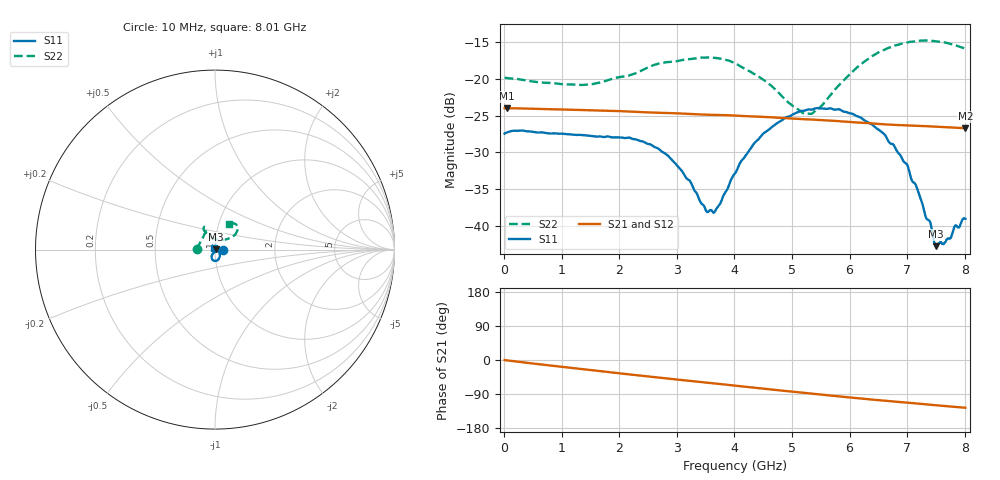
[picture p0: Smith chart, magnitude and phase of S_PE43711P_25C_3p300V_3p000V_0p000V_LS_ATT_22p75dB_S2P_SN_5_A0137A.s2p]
! Device ID: PE43711P
! File Path: z:\PE43711P\CHAR_NOM_04282014\AMB\3p300\LS_ATT_22p75dB\PE43711P_AMB_3p300V_3p000V_0p000V_LS_ATT_22p75dB_S2P_SN_5_A0137A.s2p
! Serial: 5
! Lot: A0137A
! Temp: 25C
! VDD: 3.300
! VSS: 0.000
! Control_Hi: 3.000
! Control_Lo: 0.000
! Attenuation Step: 22.75dB
! Port 1: RF1
! Port 2: RF2
! ThroughPath:1-2
! IDD: 0.0001275108
! ISS: -1.569e-007
#  Hz  S  RI  R  50
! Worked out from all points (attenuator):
!   801 points, 10 MHz to 8.01 GHz, reference 50 ohm
!   highest |S21| = -23.99 dB at 50 MHz (marker M1); lowest = -26.7 dB at 8.01 GHz (marker M2)
!   lowest |S11| = -42.8 dB at 7.5 GHz (marker M3), VSWR 1.01, Z = 50.6 + j0.428 ohm
!   |S11| at or under -10 dB: start of sweep to end of sweep
!   |S22| runs from -24.8 to -14.8 dB; largest |S21 - S12| = 0.00013
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1e7  0.0425 0.000309  0.0632 -0.000273  0.0632 -0.000256  -0.1022 0.000855
5e7  0.0432 0.000328  0.0632 -0.00108  0.0632 -0.00107  -0.1014 0.00291
1.35e9  0.0403 -0.00995  0.0562 -0.0249  0.0562 -0.0249  -0.0761 0.0497
2.18e9  0.0384 -0.0105  0.0472 -0.037  0.0472 -0.037  -0.0552 0.0903
2.68e9  0.0326 -0.00805  0.0408 -0.0425  0.0408 -0.0425  -0.052 0.1159
3.07e9  0.0229 -0.00726  0.0353 -0.0462  0.0354 -0.0463  -0.0532 0.123
3.54e9  0.0063 -0.0107  0.0285 -0.0494  0.0286 -0.0494  -0.0595 0.1266
3.68e9  0.00104 -0.0129  0.0265 -0.0503  0.0265 -0.0503  -0.0616 0.1244
4.01e9  -0.00994 -0.0205  0.0214 -0.0521  0.0214 -0.0521  -0.063 0.111
4.32e9  -0.0174 -0.0309  0.0166 -0.053  0.0166 -0.053  -0.0527 0.0959
4.52e9  -0.0189 -0.0387  0.0134 -0.0535  0.0134 -0.0535  -0.0435 0.0875
5.17e9  -0.0107 -0.0597  0.00368 -0.0532  0.00367 -0.0532  0.0021 0.0592
5.35e9  -0.00576 -0.0616  0.0011 -0.0529  0.00114 -0.0529  0.0206 0.0544
6.05e9  0.0189 -0.0547  -0.00842 -0.0501  -0.00846 -0.0501  0.0901 0.0667
6.4e9  0.026 -0.0411  -0.0125 -0.0482  -0.0126 -0.0483  0.1145 0.0864
6.68e9  0.0263 -0.0265  -0.0153 -0.0465  -0.0153 -0.0465  0.1237 0.1059
7e9  0.0228 -0.0126  -0.0184 -0.0446  -0.0184 -0.0446  0.1253 0.1249
7.18e9  0.0169 -0.0048  -0.0202 -0.0435  -0.0202 -0.0435  0.1213 0.1348
7.5e9  0.00593 0.00423  -0.0232 -0.0412  -0.0232 -0.0412  0.1058 0.146
7.65e9  0.000505 0.00767  -0.0244 -0.0401  -0.0245 -0.0401  0.0972 0.1479
7.83e9  -0.00464 0.00887  -0.0259 -0.0387  -0.0259 -0.0387  0.0859 0.1463
8.01e9  -0.00784 0.00795  -0.0271 -0.0373  -0.0273 -0.0373  0.0769 0.1402
